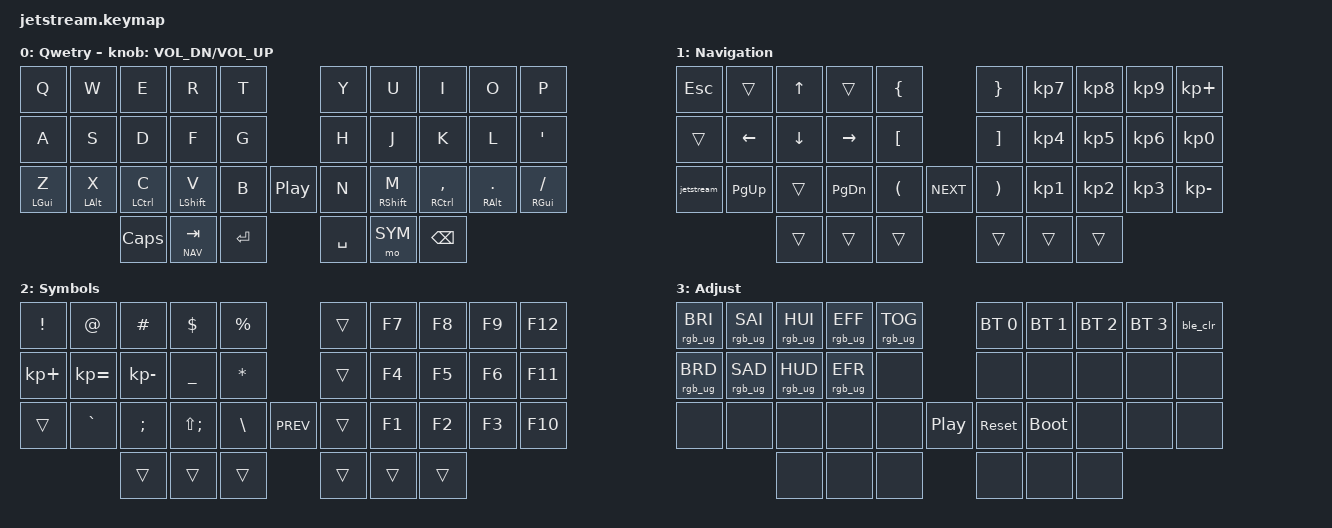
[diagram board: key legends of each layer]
/*
 * Copyright (c) 2024 The ZMK Contributors
 *
 * SPDX-License-Identifier: MIT
 */
///////////////////////////////    THIS IS A SAMPLE KEYMAP INTENDED TO BE REPLACED WITH YOUR OWN    ///////////////////////////////

#include <behaviors.dtsi>
#include <dt-bindings/zmk/bt.h>
#include <dt-bindings/zmk/keys.h>
#include <dt-bindings/zmk/rgb.h>

#define BASE 0
#define NAV  1
#define SYM  2
#define ADJ  3

// Using layer taps on thumbs, having quick tap as well helps w/ repeating space

&lt {
    tapping-term-ms = <200>;
    quick_tap_ms = <200>;
};

/ {
    conditional_layers {
        compatible = "zmk,conditional-layers";

        adjust {
            if-layers = <NAV SYM>;
            then-layer = <ADJ>;
        };
    };

    behaviors {
        ht: hold_tap {
            compatible = "zmk,behavior-hold-tap";
            #binding-cells = <2>;
            flavor = "tap-preferred";
            tapping-term-ms = <200>;
            quick-tap-ms = <150>;
            bindings = <&kp>, <&kp>;
        };

        del_td: delete_tap_dance {
            compatible = "zmk,behavior-tap-dance";
            #binding-cells = <0>;
            tapping-term-ms = <250>;
            bindings = <&kp DEL>, // DELETE, <&kp LS(DEL)>;
  //  SHIFT+DELETE 
        };

        bspc_del: backspace_delete {
            compatible = "zmk,behavior-mod-morph";
            #binding-cells = <0>;
            bindings = <&kp BSPC>, // BACKSPACE, <&kp DEL>;
 //  DELETE 
            mods = <(MOD_LSFT|MOD_RSFT)>;
        };

        ble_clr: bluetooth_clr {
            compatible = "zmk,behavior-tap-dance";
            #binding-cells = <0>;
            tapping-term-ms = <250>;
            bindings = <&bt BT_CLR>, // BLUETOOTH CLEAR, <&bt BT_CLR_ALL>;
  //  BLUETOOTH CLEAR ALL
        };
    };

    combos {
        compatible = "zmk,combos";

        combo_esc {
            timeout-ms = <50>;
            key-positions = <1 2>;  // W + E
            bindings = <&kp ESC>;  //  ESC
            layers = <BASE>;
        };

        combo_del {
            timeout-ms = <50>;
            key-positions = <7 8>;  // I + O
            bindings = <&del_td>;  //  delete_tap_dance
            layers = <BASE>;
        };
    };

    macros {
        jetstream: jetstream {
            compatible = "zmk,behavior-macro";
            #binding-cells = <0>;
            wait-ms = <10>;
            tap-ms = <5>;
            bindings =
                <&macro_tap>,
                <&kp LS(J) &kp E &kp T &kp S &kp T &kp R &kp E &kp A &kp M>;
        };
    };

    keymap {
        compatible = "zmk,keymap";

        // BASE LAYER
        //                               ╭─────────╮                                                               ╭─────────╮         
        //                     ╭─────────┤    E    ├─────────╮                                           ╭─────────┤    I    ├─────────╮     
        //           ╭─────────┤    W    │         │    R    ├─────────╮                       ╭─────────┤    U    │         │    O    ├─────────╮
        //           │    Q    │         ├─────────┤         │    T    │                       │    Y    │         ├─────────┤         │    P    │ 
        //           │         ├─────────┤    D    ├─────────┤         │                       │         ├─────────┤    K    ├─────────┤         │ 
        //           ├─────────┤    S    │         │    F    ├─────────┤                       ├─────────┤    J    │         │    L    ├─────────┤
        //           │    A    │         ├─────────┤         │    G    │                       │    H    │         ├─────────┤         │    '    │ 
        //           │         ├─────────┤    C    ├─────────┤         │                       │         ├─────────┤    ,    ├─────────┤         │ 
        //           ├─────────┤    X    │  LCTRL  │    V    ├─────────┤     ╭───────────╮     ├─────────┤    M    │  RCTRL  │    .    ├─────────┤
        //           │    Z    │   LALT  ├─────────┤  LSHFT  │    B    │     │   PLAY    │     │    N    │  RSHFT  ├─────────┤   RALT  │    /    │  
        //           │   LGUI  ├─────────╯         ╰─────────┤         │     │   PAUSE   │     │         ├─────────╯         ╰─────────┤   RGUI  │           
        //           ╰─────────╯                             ╰─────────╯     ╰───────────╯     ╰─────────╯                             ╰─────────╯
        //                                     ╭───────────╮                                               ╭───────────╮ 
        //                                     │    CAPS   ├───────────╮                       ╭───────────┤    BSPC   │              
        //                                     │           │    NAV    ├───────────┬───────────┤    SYM    │           │ 
        //                                     ╰───────────┤    TAB    │    SPACE  │   ENTER   │           ├───────────╯
        //                                                 ╰───────────┤           │           ├───────────╯ 
        //                                                             ╰───────────┴───────────╯ 
        // COMBOS KEYS:
        //  W + E = ESC
        //  I + O = DELETE 

        base_layer {
            display-name = "Qwetry";
            bindings = <
  &kp Q       &kp W       &kp E        &kp R        &kp T                        &kp Y       &kp U        &kp I            &kp O         &kp P
  &kp A       &kp S       &kp D        &kp F        &kp G                        &kp H       &kp J        &kp K            &kp L         &kp SQT
  &ht LGUI Z  &ht LALT X  &ht LCTRL C  &ht LSHFT V  &kp B      &kp C_PLAY_PAUSE  &kp N       &ht RSHFT M  &ht RCTRL COMMA  &ht RALT DOT  &ht RGUI FSLH
                          &kp CAPS     &lt NAV TAB  &kp ENTER                    &kp SPACE  &mo SYM      &kp BSPC
            >;

            sensor-bindings = <&inc_dec_kp  C_VOL_DN C_VOL_UP>;
        };

        // ⋅.˳˳.⋅ॱ˙˙ॱ⋅.˳˳.⋅ॱ˙˙ॱᐧ.˳˳.⋅⋅.˳˳.⋅ॱ˙˙ॱ⋅.˳˳.⋅ॱ˙˙ॱᐧ.˳˳.⋅⋅.˳˳.⋅ॱ˙˙ॱ⋅.˳˳.⋅ॱ˙˙ॱᐧ.˳˳.⋅⋅.˳˳.⋅ॱ˙˙ॱ⋅.˳˳.⋅ॱ˙˙ॱᐧ.˳˳.⋅⋅.˳˳.⋅ॱ˙˙ॱ⋅.˳˳.⋅ॱ˙˙ॱᐧ.˳˳.⋅⋅.˳˳.⋅ॱ˙˙ॱ⋅.˳˳.⋅ॱ˙˙ॱᐧ.˳˳.⋅⋅.˳˳.⋅ॱ˙˙ॱ⋅.˳˳.⋅ॱ˙˙ॱᐧ.˳˳.⋅⋅.˳˳.⋅ॱ˙˙ॱ⋅.˳˳.⋅ॱ˙˙ॱᐧ.˳˳.⋅
        //
        // NAV LAYER         
        //                               ╭─────────╮                                                               ╭─────────╮         
        //                     ╭─────────┤    UP   ├─────────╮                                           ╭─────────┤    8    ├─────────╮     
        //           ╭─────────┤         │         │         ├─────────╮                       ╭─────────┤     7   │         │    9    ├─────────╮
        //           │         │         ├─────────┤         │     {   │                       │    }    │         ├─────────┤         │    +    │ 
        //           │         ├─────────┤   DOWN  ├─────────┤         │                       │         ├─────────┤    5    ├─────────┤         │ 
        //           ├─────────┤   LEF   │         │  RIGHT  ├─────────┤                       ├─────────┤     4   │         │    6    ├─────────┤
        //           │         │         ├─────────┤         │     [   │                       │    ]    │         ├─────────┤         │    0    │ 
        //           │         ├─────────┤         ├─────────┤         │                       │         ├─────────┤    2    ├─────────┤         │ 
        //           ├─────────┤  PG_UP  │         │  PG_DN  ├─────────┤     ╭───────────╮     ├─────────┤     1   │         │    3    ├─────────┤
        //           │         │         ├─────────┤         │     (   │     │   Media   │     │    )    │         ├─────────┤         │    -    │  
        //           │         ├─────────╯         ╰─────────┤         │     │   NEXT    │     │         ├─────────╯         ╰─────────┤         │           
        //           ╰─────────╯                             ╰─────────╯     ╰───────────╯     ╰─────────╯                             ╰─────────╯
        //                                     ╭───────────╮                                               ╭───────────╮
        //                                     │    CAPS   ├───────────╮                       ╭───────────┤    BSPC   │             
        //                                     │           │    NAV    ├───────────┬───────────┤    SYM    │           │
        //                                     ╰───────────┤    TAB    │    SPACE  │   ENTER   │           ├───────────╯
        //                                                 ╰───────────┤           │           ├───────────╯ 
        //                                                             ╰───────────┴───────────╯ 

        nav_layer {
            display-name = "Navigation";
            bindings = <
  &kp ESC     &trans     &kp UP    &trans     &kp LBRC              &kp RBRC  &kp KP_N7  &kp KP_N8  &kp KP_N9  &kp KP_PLUS
  &trans      &kp LEFT   &kp DOWN  &kp RIGHT  &kp LBKT              &kp RBKT  &kp KP_N4  &kp KP_N5  &kp KP_N6  &kp KP_N0
  &jetstream  &kp PG_UP  &trans    &kp PG_DN  &kp LPAR  &kp C_NEXT  &kp RPAR  &kp KP_N1  &kp KP_N2  &kp KP_N3  &kp KP_MINUS
                         &trans    &trans     &trans                &trans    &trans     &trans
            >;
        };

        // ⋅.˳˳.⋅ॱ˙˙ॱ⋅.˳˳.⋅ॱ˙˙ॱᐧ.˳˳.⋅⋅.˳˳.⋅ॱ˙˙ॱ⋅.˳˳.⋅ॱ˙˙ॱᐧ.˳˳.⋅⋅.˳˳.⋅ॱ˙˙ॱ⋅.˳˳.⋅ॱ˙˙ॱᐧ.˳˳.⋅⋅.˳˳.⋅ॱ˙˙ॱ⋅.˳˳.⋅ॱ˙˙ॱᐧ.˳˳.⋅⋅.˳˳.⋅ॱ˙˙ॱ⋅.˳˳.⋅ॱ˙˙ॱᐧ.˳˳.⋅⋅.˳˳.⋅ॱ˙˙ॱ⋅.˳˳.⋅ॱ˙˙ॱᐧ.˳˳.⋅⋅.˳˳.⋅ॱ˙˙ॱ⋅.˳˳.⋅ॱ˙˙ॱᐧ.˳˳.⋅⋅.˳˳.⋅ॱ˙˙ॱ⋅.˳˳.⋅ॱ˙˙ॱᐧ.˳˳.⋅
        //
        // SYM LAYER         
        //                               ╭─────────╮                                                               ╭─────────╮         
        //                     ╭─────────┤    #    ├─────────╮                                           ╭─────────┤    F8   ├─────────╮     
        //           ╭─────────┤    @    │         │    $    ├─────────╮                       ╭─────────┤    F7   │         │   F9    ├─────────╮
        //           │    !    │         ├─────────┤         │    %    │                       │         │         ├─────────┤         │    F12  │ 
        //           │         ├─────────┤    -    ├─────────┤         │                       │         ├─────────┤    F5   ├─────────┤         │ 
        //           ├─────────┤    =    │         │    _    ├─────────┤                       ├─────────┤    F4   │         │    F6   ├─────────┤
        //           │    +    │         ├─────────┤         │    *    │                       │         │         ├─────────┤         │   F11   │ 
        //           │         ├─────────┤     ;   ├─────────┤         │                       │         ├─────────┤    F2   ├─────────┤         │ 
        //           ├─────────┤    `    │         │     :   ├─────────┤     ╭───────────╮     ├─────────┤    F1   │         │    F3   ├─────────┤
        //           │         │         ├─────────┤         │    /    │     │   Media   │     │         │         ├─────────┤         │   F10   │  
        //           │         ├─────────╯         ╰─────────┤         │     │   PREV    │     │         ├─────────╯         ╰─────────┤         │           
        //           ╰─────────╯                             ╰─────────╯     ╰───────────╯     ╰─────────╯                             ╰─────────╯
        //                                     ╭───────────╮                                               ╭───────────╮
        //                                     │    CAPS   ├───────────╮                       ╭───────────┤    BSPC   │             
        //                                     │           │    NAV    ├───────────┬───────────┤    SYM    │           │
        //                                     ╰───────────┤    TAB    │    SPACE  │   ENTER   │           ├───────────╯
        //                                                 ╰───────────┤           │           ├───────────╯ 
        //                                                             ╰───────────┴───────────╯ 

        sym_layer {
            display-name = "Symbols";
            bindings = <
  &kp EXCL     &kp AT        &kp HASH      &kp DLLR      &kp PRCNT              &trans  &kp F7  &kp F8  &kp F9  &kp F12
  &kp KP_PLUS  &kp KP_EQUAL  &kp KP_MINUS  &kp UNDER     &kp STAR               &trans  &kp F4  &kp F5  &kp F6  &kp F11
  &trans       &kp GRAVE     &kp SEMI      &kp LS(SEMI)  &kp BSLH   &kp C_PREV  &trans  &kp F1  &kp F2  &kp F3  &kp F10
                             &trans        &trans        &trans                 &trans  &trans  &trans
            >;
        };

        // ⋅.˳˳.⋅ॱ˙˙ॱ⋅.˳˳.⋅ॱ˙˙ॱᐧ.˳˳.⋅⋅.˳˳.⋅ॱ˙˙ॱ⋅.˳˳.⋅ॱ˙˙ॱᐧ.˳˳.⋅⋅.˳˳.⋅ॱ˙˙ॱ⋅.˳˳.⋅ॱ˙˙ॱᐧ.˳˳.⋅⋅.˳˳.⋅ॱ˙˙ॱ⋅.˳˳.⋅ॱ˙˙ॱᐧ.˳˳.⋅⋅.˳˳.⋅ॱ˙˙ॱ⋅.˳˳.⋅ॱ˙˙ॱᐧ.˳˳.⋅⋅.˳˳.⋅ॱ˙˙ॱ⋅.˳˳.⋅ॱ˙˙ॱᐧ.˳˳.⋅⋅.˳˳.⋅ॱ˙˙ॱ⋅.˳˳.⋅ॱ˙˙ॱᐧ.˳˳.⋅⋅.˳˳.⋅ॱ˙˙ॱ⋅.˳˳.⋅ॱ˙˙ॱᐧ.˳˳.⋅
        //
        // ADJUST LAYER         
        //                               ╭─────────╮                                                               ╭─────────╮         
        //                     ╭─────────┤   HUE+  ├─────────╮                                           ╭─────────┤   BT3   ├─────────╮     
        //           ╭─────────┤   SAT+  │         │   ANI+  ├─────────╮                       ╭─────────┤   BT2   │         │   BT4   ├─────────╮
        //           │   BRI+  │         ├─────────┤         │ RGB_TOG │                       │   BT1   │         ├─────────┤         │  BT-CLR │ 
        //           │         ├─────────┤   HUE-  ├─────────┤         │                       │         ├─────────┤         ├─────────┤         │ 
        //           ├─────────┤   SAT-  │         │   ANI-  ├─────────┤                       ├─────────┤         │         │         ├─────────┤
        //           │   BRI-  │         ├─────────┤         │         │                       │         │         ├─────────┤         │         │ 
        //           │         ├─────────┤         ├─────────┤         │                       │         ├─────────┤         ├─────────┤         │ 
        //           ├─────────┤         │         │         ├─────────┤     ╭───────────╮     ├─────────┤   BOOT  │         │         ├─────────┤
        //           │         │         ├─────────┤         │         │     │   PLAY    │     │  RESET  │         ├─────────┤         │         │  
        //           │         ├─────────╯         ╰─────────┤         │     │   PAUSE   │     │         ├─────────╯         ╰─────────┤         │           
        //           ╰─────────╯                             ╰─────────╯     ╰───────────╯     ╰─────────╯                             ╰─────────╯
        //                                     ╭───────────╮                                               ╭───────────╮
        //                                     │    CAPS   ├───────────╮                       ╭───────────┤    BSPC   │             
        //                                     │           │    NAV    ├───────────┬───────────┤    SYM    │           │
        //                                     ╰───────────┤    TAB    │    SPACE  │   ENTER   │           ├───────────╯
        //                                                 ╰───────────┤           │           ├───────────╯ 
        //                                                             ╰───────────┴───────────╯ 
        //
        // TAP DANCA KEYS:
        // &ble_clr = 1: BT_CLR  2: BT_CLR_ALL
        //

        adj_layer {
            display-name = "Adjust";
            bindings = <
  &rgb_ug RGB_BRI  &rgb_ug RGB_SAI  &rgb_ug RGB_HUI  &rgb_ug RGB_EFF  &rgb_ug RGB_TOG                    &bt BT_SEL 0  &bt BT_SEL 1  &bt BT_SEL 2  &bt BT_SEL 3  &ble_clr
  &rgb_ug RGB_BRD  &rgb_ug RGB_SAD  &rgb_ug RGB_HUD  &rgb_ug RGB_EFR  &none                              &none         &none         &none         &none         &none
  &none            &none            &none            &none            &none            &kp C_PLAY_PAUSE  &sys_reset    &bootloader   &none         &none         &none
                                    &none            &none            &none                              &none         &none         &none
            >;
        };
    };
};
